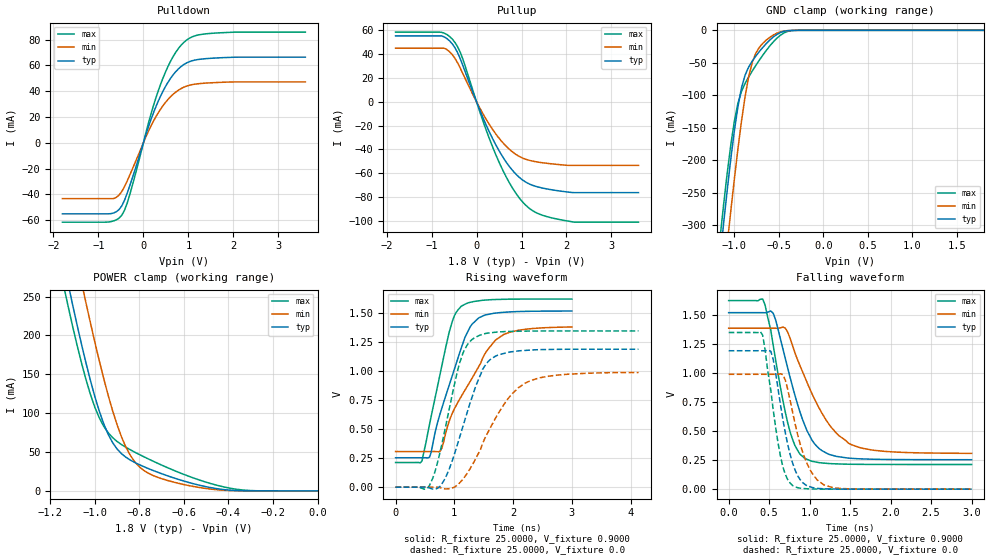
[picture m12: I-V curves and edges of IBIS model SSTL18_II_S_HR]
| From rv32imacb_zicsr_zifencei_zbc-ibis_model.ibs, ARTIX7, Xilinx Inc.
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[Model]  SSTL18_II_S_HR
Model_type I/O
Polarity   Non-Inverting
Enable   Active-Low
Vinl = 0.775
Vinh = 1.025
Vmeas =  0.9000V
Cref =   0.0F
Rref =   25.0000
Vref =   0.9000V
C_comp   7.6500pF   7.5200pF   7.6700pF
[Model Spec]
Vinl   0.775   0.730   0.820
Vinh   1.025   0.980   1.070
[Temperature Range]   25.0000   85.0000   0.0
[Voltage Range]   1.8000V   1.7100V   1.8900V
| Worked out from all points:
|   slope of the pulldown table from 0 to 0.27 V, typ, clamps not added: 9.91 ohm
|   slope of the pullup table from 0 to 0.27 V, typ, clamps not added: 11.2 ohm
|   GND clamp passes 1 mA (typ) near -0.42 V on its own axis
|   POWER clamp passes 1 mA (typ) near -0.39 V on its own axis
|   rising waveform, R_fixture 25.0000, V_fixture 0.9000: 20-80 % time 474ps typ, 657ps min, 355ps max; typ from 0.253 V to 1.52 V
|   rising waveform, R_fixture 25.0000, V_fixture 0.0: 20-80 % time 460ps typ, 646ps min, 352ps max; typ from 0 V to 1.19 V
|   falling waveform, R_fixture 25.0000, V_fixture 0.9000: 20-80 % time 317ps typ, 458ps min, 232ps max; typ from 1.52 V to 0.254 V
|   falling waveform, R_fixture 25.0000, V_fixture 0.0: 20-80 % time 194ps typ, 232ps min, 173ps max; typ from 1.19 V to 0 V
[Pulldown]
|Voltage   I(typ)   I(min)   I(max)
-1.8V     -55.1mA    -43.28mA   -61.58mA
-720mV    -54.94mA   -43.28mA   -61.14mA
-600mV    -53.43mA   -42.28mA   -59.76mA
-480mV    -48.91mA   -37.76mA   -56.14mA
-300mV    -33mA      -24.85mA   -39.81mA
120mV     13.17mA    9.549mA    16.28mA
360mV     34.58mA    24.89mA    43.21mA
660mV     52.63mA    37.57mA    66.78mA
960mV     61.91mA    43.93mA    79.61mA
1.2V      64.46mA    45.69mA    83.43mA
1.56V     65.62mA    46.59mA    84.95mA
3.6V      66.35mA    47.17mA    85.8mA
[Pullup]
|Voltage   I(typ)   I(min)   I(max)
-1.8V     55.28mA    44.94mA    58.45mA
-780mV    55.28mA    44.94mA    58.29mA
-660mV    53.05mA    43.86mA    56.44mA
-480mV    45.35mA    36.46mA    49.79mA
-300mV    30mA       23.3mA     35.36mA
120mV     -11.24mA   -8.519mA   -13.63mA
480mV     -39.66mA   -29.56mA   -48.88mA
840mV     -59.29mA   -43.23mA   -74.78mA
1.2V      -69.38mA   -49.37mA   -90.13mA
1.56V     -73.08mA   -51.58mA   -96.28mA
2.16V     -76.19mA   -53.38mA   -100.9mA
3.6V      -76.19mA   -53.38mA   -101mA
[GND_clamp]
|Voltage   I(typ)   I(min)   I(max)
-1.8V     -1.3A      -1.383A    -1.269A
-1.16V    -348.9mA   -435.6mA   -318.5mA
-1.12V    -296.3mA   -381.5mA   -267.4mA
-1.08V    -245.7mA   -328.8mA   -219.5mA
-1.04V    -198.1mA   -278mA     -176.3mA
-960mV    -117.6mA   -182.5mA   -112.3mA
-920mV    -88.68mA   -139.8mA   -94.04mA
-840mV    -56.6mA    -71.86mA   -71.82mA
-760mV    -39.79mA   -35.41mA   -54.21mA
-560mV    -9.966mA   -7.013mA   -17.38mA
-320mV    -48.25uA   -58.21uA   -167.2uA
1.8V      18.21nA    526.7nA    -33.91nA
[POWER_clamp]
|Voltage   I(typ)   I(min)   I(max)
-1.8V     1.291A     1.371A     1.26A
-1.14V    293.9mA    379.2mA    264mA
-1.1V     239.9mA    323.1mA    212.2mA
-1.06V    188.9mA    268.7mA    164.9mA
-1.04V    165mA      242.3mA    143.6mA
-980mV    102.7mA    167.5mA    94.04mA
-940mV    72.79mA    123mA      74.84mA
-860mV    43.26mA    56.15mA    56.08mA
-800mV    33.74mA    30.98mA    46.86mA
-660mV    18.15mA    12.38mA    28.25mA
-400mV    1.141mA    578.2uA    3.907mA
0V        0A         0A         0A
[Ramp]
| variable   typ   min   max
dV/dt_r  0.7140/0.4604n   0.5858/0.6515n   0.8088/0.3521n
dV/dt_f  0.7310/0.3940n   0.5883/0.5660n   0.8338/0.2918n
R_load = 25.0000
[Rising Waveform]
R_fixture= 25.0000
V_fixture= 0.9000
V_fixture_min= 0.8550
V_fixture_max= 0.9450
|time   V(typ)   V(min)   V(max)
0s        253.4mV    307mV      212.3mV
450ps     253.4mV    307mV      225.8mV
580ps     260mV      307mV      546.6mV
760ps     636.9mV    310.7mV    981.2mV
970ps     969.4mV    642.8mV    1.437V
1.12ns    1.204V     784.6mV    1.562V
1.27ns    1.384V     912.7mV    1.595V
1.42ns    1.462V     1.045V     1.608V
1.85ns    1.509V     1.32V      1.621V
3ns       1.52V      1.382V     1.623V
[Rising Waveform]
R_fixture= 25.0000
V_fixture= 0.0
|time   V(typ)   V(min)   V(max)
0s        0V         0V         0V
580.5ps   -8.349mV   5.261uV    17.66mV
704.9ps   -11.73mV   12.34uV    194.2mV
870.7ps   105.4mV    -15.6mV    570.6mV
1.092ns   432.9mV    37.02mV    1.075V
1.327ns   816.3mV    210.9mV    1.284V
1.603ns   1.098V     504mV      1.331V
1.907ns   1.163V     759.6mV    1.343V
2.211ns   1.181V     898.8mV    1.346V
4.132ns   1.19V      989.1mV    1.348V
[Falling Waveform]
R_fixture= 25.0000
V_fixture= 0.9000
V_fixture_min= 0.8550
V_fixture_max= 0.9450
|time   V(typ)   V(min)   V(max)
0s        1.52V      1.386V     1.624V
420ps     1.52V      1.386V     1.637V
550ps     1.515V     1.386V     1.238V
730ps     1.04V      1.351V     568.2mV
820ps     804.2mV    1.171V     373.7mV
940ps     550.8mV    965.4mV    265.3mV
1.15ns    332.7mV    656.8mV    225.9mV
1.33ns    282.3mV    482.7mV    217.9mV
1.52ns    265.5mV    382.2mV    214.4mV
3ns       253.6mV    308.3mV    212.4mV
[Falling Waveform]
R_fixture= 25.0000
V_fixture= 0.0
|time   V(typ)   V(min)   V(max)
0s        1.192V     989.1mV    1.349V
420ps     1.192V     989.2mV    1.325V
520ps     1.188V     989.2mV    852.1mV
550ps     1.117V     989.2mV    683.2mV
640ps     724.5mV    994mV      283.6mV
700ps     484.5mV    938.1mV    126.4mV
790ps     223.9mV    661.7mV    30.81mV
970ps     28.36mV    215.9mV    3.641mV
1.18ns    3.437mV    35.42mV    762.3uV
3ns       64.16uV    127.4uV    45.23uV
